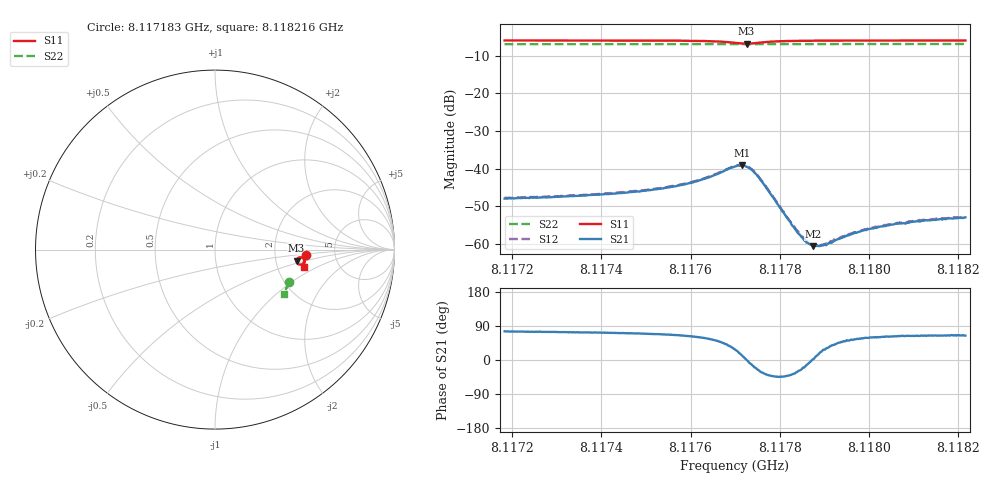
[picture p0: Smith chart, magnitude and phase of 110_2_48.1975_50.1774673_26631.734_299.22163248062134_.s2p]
#  HZ  S  RI  R  50.00
! Rohde & Schwarz Vector Network Analyzer
! Rohde-Schwarz,ZNB20-2Port,1311601062101988,3.16
! Created: UTC 3/20/2024, 11:40:57 AM
! freq[Hz]  re:S11  im:S11  re:S21  im:S21  re:S12  im:S12  re:S22  im:S22
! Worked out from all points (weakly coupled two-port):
!   401 points, 8.117183 GHz to 8.118216 GHz, reference 50 ohm
!   highest |S21| = -39.09 dB at 8.117715 GHz (marker M1); lowest = -60.5 dB at 8.117875 GHz (marker M2)
!   lowest |S11| = -6.8 dB at 8.117726 GHz (marker M3), VSWR 2.69, Z = 131 - j20.2 ohm
!   |S11| at or under -10 dB: nowhere
!   |S22| runs from -6.9 to -6.9 dB; largest |S21 - S12| = 0.00039
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8.117183e9  0.5047 -0.0314  0.000991 0.0039  0.00107 0.00397  0.413 -0.1817
8.1173561e9  0.5032 -0.046  0.00129 0.00421  0.00138 0.00426  0.4084 -0.1928
8.1174517e9  0.5016 -0.0547  0.00159 0.00455  0.00162 0.00462  0.4058 -0.199
8.1175292e9  0.4994 -0.0631  0.002 0.00502  0.00215 0.00511  0.4036 -0.204
8.1176119e9  0.4937 -0.0742  0.00327 0.00594  0.00338 0.00603  0.4007 -0.2094
8.1176429e9  0.4886 -0.0794  0.0044 0.00638  0.00455 0.00648  0.3996 -0.2116
8.1176997e9  0.4637 -0.0805  0.0095 0.00502  0.0097 0.005  0.3968 -0.2146
8.1177152e9  0.4557 -0.0705  0.0109 0.0023  0.011 0.00231  0.3961 -0.2149
8.1177255e9  0.4545 -0.0608  0.0106 5.24e-05  0.0109 1.48e-05  0.3959 -0.2153
8.1177359e9  0.4579 -0.0516  0.00963 -0.00183  0.00977 -0.00211  0.396 -0.2154
8.117754e9  0.4704 -0.0431  0.00672 -0.00355  0.00668 -0.00363  0.3961 -0.2163
8.1178211e9  0.4947 -0.0549  0.00156 -0.00135  0.00156 -0.00136  0.3949 -0.221
8.1178444e9  0.4968 -0.0598  0.00119 -0.000622  0.00122 -0.000648  0.3943 -0.2226
8.1178599e9  0.4974 -0.0624  0.00102 -0.00025  0.00107 -0.000289  0.3938 -0.2237
8.1178728e9  0.4979 -0.0645  0.000961 8.42e-06  0.000975 -2.66e-05  0.3935 -0.2246
8.1178754e9  0.4979 -0.0648  0.000938 3.58e-05  0.000983 3.77e-05  0.3933 -0.2248
8.1179012e9  0.4983 -0.0685  0.000875 0.000454  0.000885 0.000446  0.3925 -0.2264
8.117971e9  0.4983 -0.0768  0.000813 0.00115  0.000825 0.00118  0.3902 -0.231
8.118002e9  0.4981 -0.08  0.000811 0.00137  0.000846 0.0014  0.3892 -0.2328
8.1180459e9  0.4977 -0.0842  0.000842 0.00157  0.000873 0.00158  0.3876 -0.2355
8.1181182e9  0.4966 -0.0906  0.000872 0.00184  0.000922 0.00187  0.3851 -0.24
8.1182164e9  0.4952 -0.0989  0.00098 0.00204  0.000985 0.00208  0.3818 -0.2461
